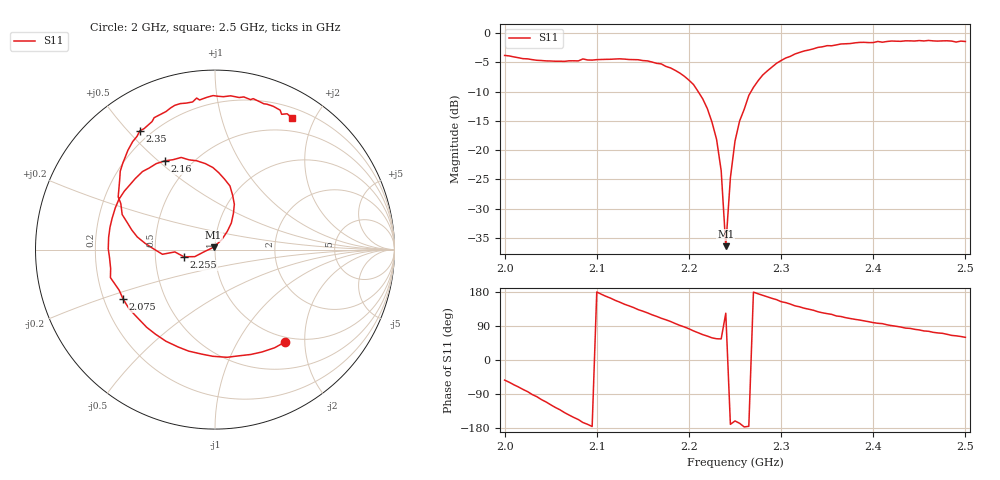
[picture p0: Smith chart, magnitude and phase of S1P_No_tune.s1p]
# HZ S RI R 50
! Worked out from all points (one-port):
!   101 points, 2 GHz to 2.5 GHz, reference 50 ohm
!   lowest |S11| = -36.4 dB at 2.24 GHz (marker M1), VSWR 1.03, Z = 49.2 + j1.24 ohm
!   |S11| at or under -10 dB: 2.21 GHz to 2.267 GHz (57.19 MHz wide, 2.55 % of centre)
!   S11 on the Smith chart (normalised r, x): 2 GHz: 0.91, -1.61; 2.075 GHz: 0.28, -0.23; 2.16 GHz: 0.36, +0.53; 2.255 GHz: 0.70, -0.06; 2.35 GHz: 0.16, +0.54; 2.5 GHz: 0.32, +1.69
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2e9  0.3885 -0.5158
2.03e9  -0.0125 -0.5944
2.045e9  -0.2055 -0.5425
2.065e9  -0.4327 -0.3786
2.075e9  -0.511 -0.2771
2.085e9  -0.5826 -0.1562
2.1e9  -0.5948 0.00498
2.125e9  -0.5362 0.2787
2.145e9  -0.4036 0.4351
2.16e9  -0.2775 0.4947
2.19e9  -0.0115 0.457
2.205e9  0.0834 0.3544
2.215e9  0.1077 0.2528
2.23e9  0.0691 0.1028
2.235e9  0.0378 0.0553
2.24e9  -0.00834 0.0126
2.245e9  -0.0572 -0.0103
2.25e9  -0.113 -0.0393
2.255e9  -0.1734 -0.0399
2.265e9  -0.2928 -0.0261
2.28e9  -0.433 0.0703
2.295e9  -0.5171 0.1953
2.315e9  -0.5302 0.4002
2.35e9  -0.4185 0.6619
2.375e9  -0.2727 0.7693
2.405e9  -0.1021 0.8444
2.44e9  0.0987 0.8546
2.5e9  0.4279 0.7346
